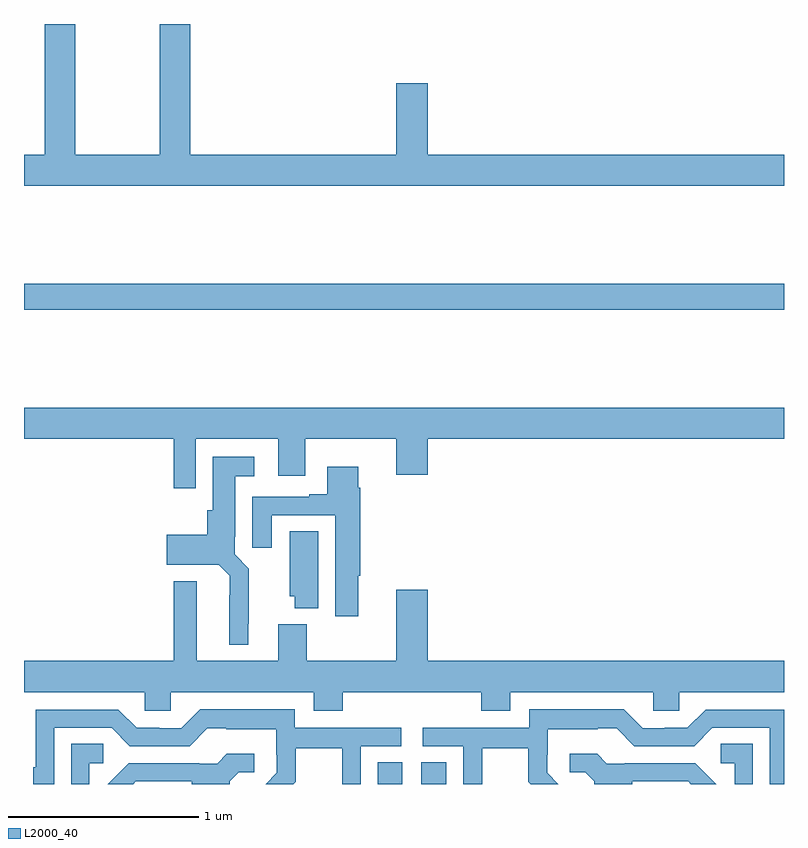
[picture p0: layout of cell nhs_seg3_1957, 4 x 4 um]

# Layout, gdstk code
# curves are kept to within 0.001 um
import gdstk
lib = gdstk.Library(unit=1e-6, precision=1e-09)
def R(c, l, rs):  # rectangles x0, y0, x1, y1
    for r in rs: c.add(gdstk.rectangle(r[:2], r[2:], *l))
def P(c, l, *ps):  # polygons
    for p in ps: c.add(gdstk.Polygon(p, *l))
L2000_40 = (2000, 40)

nhs_seg3_1957 = lib.new_cell('nhs_seg3_1957')
R(nhs_seg3_1957, L2000_40, [(212.861,732.4,212.992,732.515), (213.092,732.4,213.223,732.515), (211,734.896,215,735.032)])
P(nhs_seg3_1957, L2000_40, [(215,735.712),(213.124,735.712),(213.124,736.087),(212.96,736.087),(212.96,735.712),(211.874,735.712),(211.874,736.4),(211.714,736.4),(211.714,735.712),(211.269,735.712),(211.269,736.4),(211.109,736.4),(211.109,735.712),(211,735.712),(211,735.548),(215,735.548)],
  [(211,734.216),(211.789,734.216),(211.789,733.956),(211.905,733.956),(211.905,734.216),(212.339,734.216),(212.339,734.022),(212.479,734.022),(212.479,734.216),(212.96,734.216),(212.96,734.028),(213.124,734.028),(213.124,734.216),(215,734.216),(215,734.38),(211,734.38)],
  [(212.179,733.243),(212.183,733.243),(212.183,733.534),(212.109,733.608),(212.109,733.702),(212.113,733.702),(212.113,734.021),(212.212,734.021),(212.212,734.122),(211.994,734.122),(211.994,733.842),(211.964,733.842),(211.964,733.711),(211.752,733.711),(211.752,733.553),(212.025,733.553),(212.082,733.496),(212.081,733.133),(212.179,733.133)],
  [(212.758,733.496),(212.771,733.496),(212.771,733.958),(212.758,733.958),(212.758,734.071),(212.597,734.071),(212.597,733.924),(212.501,733.924),(212.501,733.911),(212.201,733.911),(212.201,733.644),(212.305,733.644),(212.305,733.815),(212.639,733.815),(212.639,733.284),(212.758,733.284)],
  [(212.548,733.73),(212.399,733.73),(212.399,733.389),(212.426,733.389),(212.426,733.325),(212.548,733.325)],
  [(212.678,732.884),(213.407,732.884),(213.407,732.785),(213.559,732.785),(213.559,732.884),(214.311,732.884),(214.311,732.786),(214.449,732.786),(214.449,732.884),(215,732.884),(215,733.048),(213.124,733.048),(213.124,733.423),(212.96,733.423),(212.96,733.048),(212.487,733.048),(212.487,733.24),(212.339,733.24),(212.339,733.048),(211.909,733.048),(211.909,733.468),(211.787,733.468),(211.787,733.048),(211,733.048),(211,732.884),(211.635,732.884),(211.635,732.786),(211.773,732.786),(211.773,732.884),(212.525,732.884),(212.525,732.785),(212.678,732.785)],
  [(213.411,732.588),(213.655,732.588),(213.655,732.413),(213.668,732.4),(213.812,732.4),(213.754,732.458),(213.754,732.555),(213.756,732.555),(213.756,732.689),(214.019,732.689),(214.019,732.693),(214.119,732.693),(214.212,732.6),(214.527,732.6),(214.623,732.696),(214.926,732.696),(214.926,732.4),(215,732.4),(215,732.792),(214.587,732.792),(214.491,732.696),(214.373,732.696),(214.373,732.693),(214.257,732.693),(214.157,732.793),(213.66,732.793),(213.66,732.696),(213.099,732.696),(213.099,732.6),(213.312,732.6),(213.312,732.4),(213.411,732.4)],
  [(211.158,732.696),(211.461,732.696),(211.557,732.6),(211.872,732.6),(211.965,732.693),(212.065,732.693),(212.065,732.689),(212.328,732.689),(212.328,732.555),(212.33,732.555),(212.33,732.458),(212.272,732.4),(212.416,732.4),(212.429,732.413),(212.429,732.588),(212.674,732.588),(212.674,732.4),(212.772,732.4),(212.772,732.6),(212.986,732.6),(212.986,732.696),(212.424,732.696),(212.424,732.793),(211.927,732.793),(211.827,732.693),(211.712,732.693),(211.712,732.696),(211.593,732.696),(211.497,732.792),(211.062,732.792),(211.062,732.487),(211.049,732.487),(211.049,732.4),(211.158,732.4)],
  [(211.344,732.51),(211.417,732.51),(211.417,732.611),(211.248,732.611),(211.248,732.4),(211.344,732.4)],
  [(214.836,732.611),(214.668,732.611),(214.668,732.51),(214.74,732.51),(214.74,732.4),(214.836,732.4)],
  [(214.201,732.414),(214.496,732.414),(214.51,732.4),(214.644,732.4),(214.534,732.51),(214.162,732.51),(214.162,732.507),(214.068,732.507),(214.016,732.559),(213.873,732.559),(213.873,732.462),(213.954,732.462),(214.001,732.415),(214.001,732.4),(214.201,732.4)],
  [(211.588,732.414),(211.883,732.414),(211.883,732.4),(212.083,732.4),(212.083,732.415),(212.13,732.462),(212.212,732.462),(212.212,732.559),(212.068,732.559),(212.016,732.507),(211.922,732.507),(211.922,732.51),(211.55,732.51),(211.44,732.4),(211.574,732.4)])

lib.write_gds('nhs_seg3_1957.gds')
